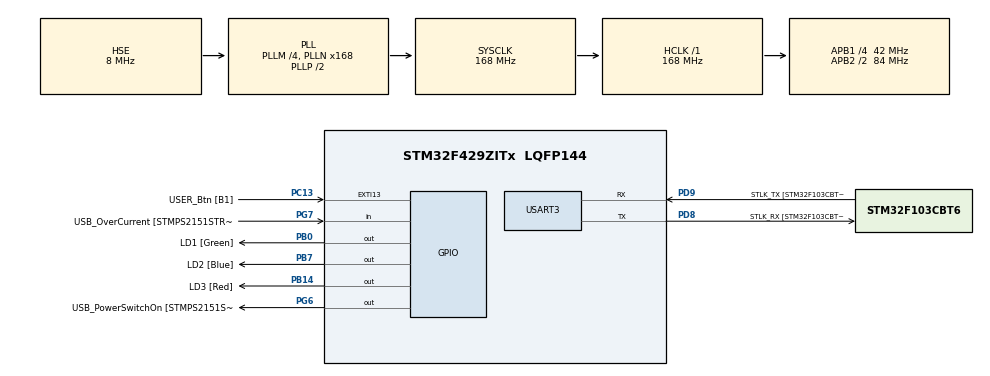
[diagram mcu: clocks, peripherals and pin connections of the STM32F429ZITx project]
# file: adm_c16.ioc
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Mcu.Family=STM32F4
Mcu.Name=STM32F429ZITx
Mcu.Package=LQFP144
NVIC.PriorityGroup=NVIC_PRIORITYGROUP_4
PA1.GPIO_Label=RMII_REF_CLK [LAN8742A-CZ-TR_REFCLK0]
PA1.Signal=ETH_REF_CLK
PA10.GPIO_Label=USB_ID
PA10.Signal=USB_OTG_FS_ID
PA11.GPIO_Label=USB_DM
PA11.Signal=USB_OTG_FS_DM
PA12.GPIO_Label=USB_DP
PA12.Signal=USB_OTG_FS_DP
PA13.GPIO_Label=TMS
PA13.Mode=Serial_Wire
PA13.Signal=SYS_JTMS-SWDIO
PA14.GPIO_Label=TCK
PA14.Mode=Serial_Wire
PA14.Signal=SYS_JTCK-SWCLK
PA2.GPIO_Label=RMII_MDIO [LAN8742A-CZ-TR_MDIO]
PA2.Signal=ETH_MDIO
PA7.GPIO_Label=RMII_CRS_DV [LAN8742A-CZ-TR_CRS_DV]
PA7.Signal=ETH_CRS_DV
PA8.GPIO_Label=USB_SOF [TP1]
PA8.Signal=USB_OTG_FS_SOF
PA9.GPIO_Label=USB_VBUS
PA9.Signal=USB_OTG_FS_VBUS
PB0.GPIO_Label=LD1 [Green]
PB0.Signal=GPIO_Output
PB13.GPIO_Label=RMII_TXD1 [LAN8742A-CZ-TR_TXD1]
PB13.Signal=ETH_TXD1
PB14.GPIO_Label=LD3 [Red]
PB14.Signal=GPIO_Output
PB7.GPIO_Label=LD2 [Blue]
PB7.Signal=GPIO_Output
PC1.GPIO_Label=RMII_MDC [LAN8742A-CZ-TR_MDC]
PC1.Signal=ETH_MDC
PC13.GPIO_Label=USER_Btn [B1]
PC13.Signal=GPXTI13
PC14/OSC32_IN.Mode=LSE-External-Oscillator
PC14/OSC32_IN.Signal=RCC_OSC32_IN
PC15/OSC32_OUT.Mode=LSE-External-Oscillator
PC15/OSC32_OUT.Signal=RCC_OSC32_OUT
PC4.GPIO_Label=RMII_RXD0 [LAN8742A-CZ-TR_RXD0]
PC4.Signal=ETH_RXD0
PC5.GPIO_Label=RMII_RXD1 [LAN8742A-CZ-TR_RXD1]
PC5.Signal=ETH_RXD1
PD8.GPIO_Label=STLK_RX [STM32F103CBT6_PA3]
PD8.Mode=Asynchronous
PD8.Signal=USART3_TX
PD9.GPIO_Label=STLK_TX [STM32F103CBT6_PA2]
PD9.Mode=Asynchronous
PD9.Signal=USART3_RX
PG11.GPIO_Label=RMII_TX_EN [LAN8742A-CZ-TR_TXEN]
PG11.Signal=ETH_TX_EN
PG13.GPIO_Label=RMII_TXD0 [LAN8742A-CZ-TR_TXD0]
PG13.Signal=ETH_TXD0
PG6.GPIO_Label=USB_PowerSwitchOn [STMPS2151STR_EN]
PG6.Signal=GPIO_Output
PG7.GPIO_Label=USB_OverCurrent [STMPS2151STR_FAULT]
PG7.Signal=GPIO_Input
PH0/OSC_IN.GPIO_Label=MCO [STM32F103CBT6_PA8]
PH0/OSC_IN.Mode=HSE-External-Clock-Source
PH0/OSC_IN.Signal=RCC_OSC_IN
PH1/OSC_OUT.Mode=HSE-External-Clock-Source
PH1/OSC_OUT.Signal=RCC_OSC_OUT
ProjectManager.HeapSize=0x200
ProjectManager.StackSize=0x400
ProjectManager.TargetToolchain=STM32CubeIDE
RCC.48MHZClocksFreq_Value=48000000
RCC.AHBFreq_Value=168000000
RCC.APB1CLKDivider=RCC_HCLK_DIV4
RCC.APB1Freq_Value=42000000
RCC.APB1TimFreq_Value=84000000
RCC.APB2CLKDivider=RCC_HCLK_DIV2
RCC.APB2Freq_Value=84000000
RCC.APB2TimCLKDivider=2
RCC.APB2TimFreq_Value=168000000
RCC.CortexFreq_Value=168000000
RCC.HCLKFreq_Value=168000000
RCC.HSE_VALUE=8000000
RCC.HSI_VALUE=16000000
RCC.PLLM=4
RCC.PLLMUL=RCC_PLL_MUL9
RCC.PLLN=168
RCC.PLLQ=7
RCC.PLLSourceVirtual=RCC_PLLSOURCE_HSE
RCC.PRESCALERUSB=RCC_USBCLKSOURCE_PLL_DIV1_5
RCC.SYSCLKFreq_VALUE=168000000
RCC.SYSCLKSource=RCC_SYSCLKSOURCE_PLLCLK
RCC.SYSCLKSourceVirtual=RCC_SYSCLKSOURCE_PLLCLK
RCC.USBFreq_Value=48000000
RCC.VCOOutputFreq_Value=336000000
USART3.VirtualMode=VM_ASYNC
board=NUCLEO-F429ZI

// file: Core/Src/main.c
/* USER CODE BEGIN Header */
/**
  ******************************************************************************
  * @file           : main.c
  * @brief          : Módulo principal del proyecto AdM
  ******************************************************************************
  * @attention
  ******************************************************************************
  */
/* USER CODE END Header */
#include "main.h"

/* USER CODE BEGIN Includes */
#include "asm_func.h"
/* USER CODE END Includes */

/* USER CODE BEGIN PM */
#define N_MUESTRAS		1024

/* USER CODE END PM */

UART_HandleTypeDef huart3;

void SystemClock_Config(void);
static void MX_GPIO_Init(void);
static void MX_USART3_UART_Init(void);
/* USER CODE BEGIN PFP */
static void PrivilegiosSVC (void);

/* USER CODE END PFP */

int main(void)
{
  /* USER CODE BEGIN 1 */
  // **************************************************************************
  /* USER CODE END 1 */

  /* MCU Configuration--------------------------------------------------------*/
  /* Reset of all peripherals, Initializes the Flash interface and the Systick. */
  HAL_Init();
  /* Configure the system clock */
  SystemClock_Config();
  /* USER CODE BEGIN SysInit */

  // Activa contador de ciclos (iniciar una sola vez)
  DWT->CTRL |= 1 << DWT_CTRL_CYCCNTENA_Pos;

  /* USER CODE END SysInit */
  /* Initialize all configured peripherals */
  MX_GPIO_Init();
  MX_USART3_UART_Init();

  /* USER CODE BEGIN 2 */
  // **************************************************************************
  // Variables locales a Main: (guardadas en la pila)
  volatile uint32_t Ciclos;
  uint32_t i;
  uint32_t senial1[N_MUESTRAS];
  uint32_t senial2[N_MUESTRAS];
  uint16_t senial16[N_MUESTRAS];
  uint16_t senial16b[N_MUESTRAS];

  senial1[N_MUESTRAS-1] = 99;
  senial16[0] = 1;
  for (i=0; i<N_MUESTRAS; i++) {
  	  senial16[i] = i;
  }

  // **************************************************************************
  // Mensaje con el modo de compilación
  EnviaTexto ( (uint8_t *) "---------------------------------------------------------");
  #ifdef DEBUG
  EnviaTexto ( (uint8_t *) "Compilado en modo DEBUG.");
  #else
  EnviaTexto ( (uint8_t *) "Compilado en modo RELEASE.");
  #endif

  // **************************************************************************
  // 0) Prueba de modos de privilegio
  PrivilegiosSVC ();
  const uint32_t suma = asm_sum (5, 3);

  // **************************************************************************
  // 1) Fn zeros
  // Inicio prueba de productos escalares
  // Asignación de valores...
  asm_zeros (senial1, N_MUESTRAS);   					// Función en Assembler
  ones(senial1, N_MUESTRAS);
  asm_productoEscalar32(senial1, senial2, N_MUESTRAS, 1);	// Esto equivale a copiar un vector en otro

  // **************************************************************************
  // 4) Multiplicación de vector por escalar con saturación de 12 bits
  // ¡¡¡Contando ciclos!!!

  // Antes de la función a medir: contador de ciclos a cero
  DWT->CYCCNT = 0;

  // Vamos a multiplicar el contenido de senial16 por un valor algunas veces
  for (i=0; i<4; i++) {
  	  productoEscalar12(senial16, senial16, N_MUESTRAS, 3);
  }

  // Mido la cantidad de ciclos
  Ciclos = DWT->CYCCNT;
  EnviaTextoNumero ( (uint8_t *) "4) Ciclos de fn multiplicacion con saturacion en C = ", (uint32_t) Ciclos);

  // Ahora en Assembler...
  // Primero asigno el mismo valor:
  for (i=0; i<N_MUESTRAS; i++) {
  	  senial16[i] = i;
  }

  // Contador de ciclos a cero
  DWT->CYCCNT = 0;

  // Vamos a multiplicar el contenido de senial16 por un valor algunas veces
  for (i=0; i<4; i++) {							// Ahora vamos a multiplicar su contenido por Resultado una cantidad de veces
	  asm_productoEscalar12(senial16, senial16, N_MUESTRAS, suma-1);
  }

  // Mido la cantidad de ciclos
  Ciclos = DWT->CYCCNT;
  EnviaTextoNumero ( (uint8_t *) "4) Ciclos de fn multiplicacion con saturacion en Assembler = ", (uint32_t) Ciclos);

  // **************************************************************************
  // 5) Promedio ventana
  zeros16(senial16, N_MUESTRAS);
  for (i=5; i<N_MUESTRAS-1; i+=14) {
	  senial16[i]=50;
	  senial16[i+1]=50;
  }
  asm_filtroVentana10(senial16, senial16b, N_MUESTRAS);	  // Probamos filtro ventana
  asm_invertir (senial16b, N_MUESTRAS);

  // **************************************************************************
  // 7) Prueba máximo de indice
  int32_t evaluame[10] = {1, 2, 3, 4, 3, 2, 1, 0, -1, -2};
  uint32_t indice;
  indice = asm_max(evaluame, 10);
  EnviaTextoNumero ( (uint8_t *) "7) Indice maximo es ", (uint32_t) indice);

  // **************************************************************************
  // 8) Prueba de submuestreo
  int32_t submuestreado[10];
  asm_downsampleM (evaluame, submuestreado, 10, 3);

  // **************************************************************************
  // Problema 11) Prueba de correlación
  int16_t vectorX[N_MUESTRAS], vectorY[N_MUESTRAS], corr1[N_MUESTRAS], corr2[N_MUESTRAS];

  for ( i=0; i<N_MUESTRAS; i++) {
	  vectorX[i] = 0;
	  vectorY[i] = 0;
	  if (i == 0) {
		  vectorY[i] = 1;
	  } else if (i < 5) {
		  vectorY[i] = vectorY[i-1] * (-3);
	  } else {
		  vectorY[i] = vectorY[i-1] / (-2);
	  }
	  if (i>=512) {
		  vectorX[i] = vectorY[i-512];
	  }
  }

  // Pruebo en Assembler sin SIMD
  DWT->CYCCNT = 0; 									// Contador de ciclos a cero
  corr (vectorX, vectorY, corr2, N_MUESTRAS);		// Ejecuto...
  Ciclos = DWT->CYCCNT;								// Mido la cantidad de ciclos
  EnviaTextoNumero ( (uint8_t *) "11) Ciclos de fn correlacion en C = ", (uint32_t) Ciclos);

  // Pruebo en Assembler sin SIMD
  DWT->CYCCNT = 0; 									// Contador de ciclos a cero
  asm_corr (vectorX, vectorY, corr1, N_MUESTRAS);	// Ejecuto...
  Ciclos = DWT->CYCCNT;								// Mido la cantidad de ciclos
  EnviaTextoNumero ( (uint8_t *) "11) Ciclos de fn correlacion en Assembler sin SIMD = ", (uint32_t) Ciclos);

  // Pruebo en Assembler sin SIMD
  DWT->CYCCNT = 0; 									// Contador de ciclos a cero
  asm_corr_SIMD (vectorX, vectorY, corr2, N_MUESTRAS);	// Ejecuto...
  Ciclos = DWT->CYCCNT;								// Mido la cantidad de ciclos
  EnviaTextoNumero ( (uint8_t *) "11) Ciclos de fn correlacion en Assembler con SIMD = ", (uint32_t) Ciclos);

  // **************************************************************************

  /* USER CODE END 2 */

  /* Infinite loop */
  while (1)
  {

  }
}

void SystemClock_Config(void)
{
  RCC_OscInitTypeDef RCC_OscInitStruct = {0};
  RCC_ClkInitTypeDef RCC_ClkInitStruct = {0};

  /** Configure the main internal regulator output voltage
  */
  __HAL_RCC_PWR_CLK_ENABLE();
  __HAL_PWR_VOLTAGESCALING_CONFIG(PWR_REGULATOR_VOLTAGE_SCALE1);

  /** Initializes the RCC Oscillators according to the specified parameters
  * in the RCC_OscInitTypeDef structure.
  */
  RCC_OscInitStruct.OscillatorType = RCC_OSCILLATORTYPE_HSE;
  RCC_OscInitStruct.HSEState = RCC_HSE_BYPASS;
  RCC_OscInitStruct.PLL.PLLState = RCC_PLL_ON;
  RCC_OscInitStruct.PLL.PLLSource = RCC_PLLSOURCE_HSE;
  RCC_OscInitStruct.PLL.PLLM = 4;
  RCC_OscInitStruct.PLL.PLLN = 168;
  RCC_OscInitStruct.PLL.PLLP = RCC_PLLP_DIV2;
  RCC_OscInitStruct.PLL.PLLQ = 7;
  if (HAL_RCC_OscConfig(&RCC_OscInitStruct) != HAL_OK)
  {
    Error_Handler();
  }

  /** Initializes the CPU, AHB and APB buses clocks
  */
  RCC_ClkInitStruct.ClockType = RCC_CLOCKTYPE_HCLK|RCC_CLOCKTYPE_SYSCLK
                              |RCC_CLOCKTYPE_PCLK1|RCC_CLOCKTYPE_PCLK2;
  RCC_ClkInitStruct.SYSCLKSource = RCC_SYSCLKSOURCE_PLLCLK;
  RCC_ClkInitStruct.AHBCLKDivider = RCC_SYSCLK_DIV1;
  RCC_ClkInitStruct.APB1CLKDivider = RCC_HCLK_DIV4;
  RCC_ClkInitStruct.APB2CLKDivider = RCC_HCLK_DIV2;

  if (HAL_RCC_ClockConfig(&RCC_ClkInitStruct, FLASH_LATENCY_5) != HAL_OK)
  {
    Error_Handler();
  }
}

static void MX_USART3_UART_Init(void)
{

  huart3.Instance = USART3;
  huart3.Init.BaudRate = 115200;
  huart3.Init.WordLength = UART_WORDLENGTH_8B;
  huart3.Init.StopBits = UART_STOPBITS_1;
  huart3.Init.Parity = UART_PARITY_NONE;
  huart3.Init.Mode = UART_MODE_TX_RX;
  huart3.Init.HwFlowCtl = UART_HWCONTROL_NONE;
  huart3.Init.OverSampling = UART_OVERSAMPLING_16;
  if (HAL_UART_Init(&huart3) != HAL_OK)
  {
    Error_Handler();
  }

}

static void MX_GPIO_Init(void)
{
  GPIO_InitTypeDef GPIO_InitStruct = {0};

  /* GPIO Ports Clock Enable */
  __HAL_RCC_GPIOC_CLK_ENABLE();
  __HAL_RCC_GPIOH_CLK_ENABLE();
  __HAL_RCC_GPIOA_CLK_ENABLE();
  __HAL_RCC_GPIOB_CLK_ENABLE();
  __HAL_RCC_GPIOD_CLK_ENABLE();
  __HAL_RCC_GPIOG_CLK_ENABLE();

  /*Configure GPIO pin Output Level */
  HAL_GPIO_WritePin(GPIOB, LD1_Pin|LD3_Pin|LD2_Pin, GPIO_PIN_RESET);

  /*Configure GPIO pin Output Level */
  HAL_GPIO_WritePin(USB_PowerSwitchOn_GPIO_Port, USB_PowerSwitchOn_Pin, GPIO_PIN_RESET);

  /*Configure GPIO pin : USER_Btn_Pin */
  GPIO_InitStruct.Pin = USER_Btn_Pin;
  GPIO_InitStruct.Mode = GPIO_MODE_IT_RISING;
  GPIO_InitStruct.Pull = GPIO_NOPULL;
  HAL_GPIO_Init(USER_Btn_GPIO_Port, &GPIO_InitStruct);

  /*Configure GPIO pins : RMII_MDC_Pin RMII_RXD0_Pin RMII_RXD1_Pin */
  GPIO_InitStruct.Pin = RMII_MDC_Pin|RMII_RXD0_Pin|RMII_RXD1_Pin;
  GPIO_InitStruct.Mode = GPIO_MODE_AF_PP;
  GPIO_InitStruct.Pull = GPIO_NOPULL;
  GPIO_InitStruct.Speed = GPIO_SPEED_FREQ_VERY_HIGH;
  GPIO_InitStruct.Alternate = GPIO_AF11_ETH;
  HAL_GPIO_Init(GPIOC, &GPIO_InitStruct);

  /*Configure GPIO pins : RMII_REF_CLK_Pin RMII_MDIO_Pin RMII_CRS_DV_Pin */
  GPIO_InitStruct.Pin = RMII_REF_CLK_Pin|RMII_MDIO_Pin|RMII_CRS_DV_Pin;
  GPIO_InitStruct.Mode = GPIO_MODE_AF_PP;
  GPIO_InitStruct.Pull = GPIO_NOPULL;
  GPIO_InitStruct.Speed = GPIO_SPEED_FREQ_VERY_HIGH;
  GPIO_InitStruct.Alternate = GPIO_AF11_ETH;
  HAL_GPIO_Init(GPIOA, &GPIO_InitStruct);

  /*Configure GPIO pins : LD1_Pin LD3_Pin LD2_Pin */
  GPIO_InitStruct.Pin = LD1_Pin|LD3_Pin|LD2_Pin;
  GPIO_InitStruct.Mode = GPIO_MODE_OUTPUT_PP;
  GPIO_InitStruct.Pull = GPIO_NOPULL;
  GPIO_InitStruct.Speed = GPIO_SPEED_FREQ_LOW;
  HAL_GPIO_Init(GPIOB, &GPIO_InitStruct);

  /*Configure GPIO pin : RMII_TXD1_Pin */
  GPIO_InitStruct.Pin = RMII_TXD1_Pin;
  GPIO_InitStruct.Mode = GPIO_MODE_AF_PP;
  GPIO_InitStruct.Pull = GPIO_NOPULL;
  GPIO_InitStruct.Speed = GPIO_SPEED_FREQ_VERY_HIGH;
  GPIO_InitStruct.Alternate = GPIO_AF11_ETH;
  HAL_GPIO_Init(RMII_TXD1_GPIO_Port, &GPIO_InitStruct);

  /*Configure GPIO pin : USB_PowerSwitchOn_Pin */
  GPIO_InitStruct.Pin = USB_PowerSwitchOn_Pin;
  GPIO_InitStruct.Mode = GPIO_MODE_OUTPUT_PP;
  GPIO_InitStruct.Pull = GPIO_NOPULL;
  GPIO_InitStruct.Speed = GPIO_SPEED_FREQ_LOW;
  HAL_GPIO_Init(USB_PowerSwitchOn_GPIO_Port, &GPIO_InitStruct);

  /*Configure GPIO pin : USB_OverCurrent_Pin */
  GPIO_InitStruct.Pin = USB_OverCurrent_Pin;
  GPIO_InitStruct.Mode = GPIO_MODE_INPUT;
  GPIO_InitStruct.Pull = GPIO_NOPULL;
  HAL_GPIO_Init(USB_OverCurrent_GPIO_Port, &GPIO_InitStruct);

  /*Configure GPIO pins : USB_SOF_Pin USB_ID_Pin USB_DM_Pin USB_DP_Pin */
  GPIO_InitStruct.Pin = USB_SOF_Pin|USB_ID_Pin|USB_DM_Pin|USB_DP_Pin;
  GPIO_InitStruct.Mode = GPIO_MODE_AF_PP;
  GPIO_InitStruct.Pull = GPIO_NOPULL;
  GPIO_InitStruct.Speed = GPIO_SPEED_FREQ_VERY_HIGH;
  GPIO_InitStruct.Alternate = GPIO_AF10_OTG_FS;
  HAL_GPIO_Init(GPIOA, &GPIO_InitStruct);

  /*Configure GPIO pin : USB_VBUS_Pin */
  GPIO_InitStruct.Pin = USB_VBUS_Pin;
  GPIO_InitStruct.Mode = GPIO_MODE_INPUT;
  GPIO_InitStruct.Pull = GPIO_NOPULL;
  HAL_GPIO_Init(USB_VBUS_GPIO_Port, &GPIO_InitStruct);

  /*Configure GPIO pins : RMII_TX_EN_Pin RMII_TXD0_Pin */
  GPIO_InitStruct.Pin = RMII_TX_EN_Pin|RMII_TXD0_Pin;
  GPIO_InitStruct.Mode = GPIO_MODE_AF_PP;
  GPIO_InitStruct.Pull = GPIO_NOPULL;
  GPIO_InitStruct.Speed = GPIO_SPEED_FREQ_VERY_HIGH;
  GPIO_InitStruct.Alternate = GPIO_AF11_ETH;
  HAL_GPIO_Init(GPIOG, &GPIO_InitStruct);

}

/* USER CODE BEGIN 4 */

/**
  * @Obtiene valor del registro de 32 bits del procesador llamado "control".
  * @param
  * @retval None
  */
static void PrivilegiosSVC (void)
{
    // Obtiene valor del registro de 32 bits del procesador llamado "control".
    // El registro guarda los siguientes estados:
    // bit 2: Uso de FPU en el contexto actual. Usado=1, no usado=0.
    // bit 1: Mapeo del stack pointer(sp). MSP=0, PSP=1.
    // bit 0: Modo de ejecucion en Thread. Privilegiado=0, No privilegiado=1.
    //        Recordar que este valor solo se usa en modo Thread. Las
    //        interrupciones siempre se ejecutan en modo Handler con total
    //        privilegio.
    uint32_t x = __get_CONTROL ();

    // Actividad de debug: Ver registro "control" y valor de variable "x".
    //__BKPT (0);

    x |= 1;
    // bit 0 a modo No privilegiado.
    __set_CONTROL (x);

    // En este punto se estaria ejecutando en modo No privilegiado.
    // Lectura del registro "control" para confirmar.
    x = __get_CONTROL ();

    // Actividad de debug: Ver registro "control" y valor de variable "x".
    //__BKPT (0);

    x &= ~1u;
    // Se intenta volver a modo Privilegiado (bit 0, valor 0).
    __set_CONTROL (x);

    // Confirma que esta operacion es ignorada por estar ejecutandose en modo
    // Thread no privilegiado.
    x = __get_CONTROL ();

    // Actividad de debug: Ver registro "control" y valor de variable "x".
    //__BKPT (0);

    // En este punto, ejecutando en modo Thread no privilegiado, la unica forma
    // de volver a modo privilegiado o de realizar cualquier cambio que requiera
    // modo privilegiado, es pidiendo ese servicio a un hipotetico sistema
    // opertivo de tiempo real.
    // Para esto se invoca por software a la interrupcion SVC (Supervisor Call)
    // utilizando la instruccion "svc".
    // No hay intrinsics para realizar esta tarea. Para utilizar la instruccion
    // es necesario implementar una funcion en assembler. Ver el archivo
    // asm_func.S.
    asm_svc ();

    // El sistema operativo (el handler de SVC) deberia haber devuelto el modo
    // de ejecucion de Thread a privilegiado (bit 0 en valor 0).
    x = __get_CONTROL ();

    // Fin del ejemplo de SVC
}

/**
  * @brief Inicializa un vector con zeros
  * @param
  * @retval None
  */
void zeros(uint32_t * vector, uint32_t longitud)
{
	if (vector == NULL) Error_Handler();
	for (uint32_t i=0; i<longitud; i++) {
		vector[i] = 0;
	}
}

/**
  * @brief Inicializa un vector con zeros
  * @param
  * @retval None
  */
void zeros16(uint16_t * vector, uint32_t longitud)
{
	if (vector == NULL) Error_Handler();
	for (uint32_t i=0; i<longitud; i++) {
		vector[i] = 0;
	}
}

/**
  * @brief Inicializa un vector con unos
  * @param
  * @retval None
  */
void ones(uint32_t * vector, uint32_t longitud)
{
	if (vector == NULL) Error_Handler();
	for (uint32_t i=0; i<longitud; i++) {
		vector[i] = 1;
	}
}

/**
  * @brief   Multiplica los elements de un vector
  * @param
  * @retval  None
  * @comment No analiza caso de desborde.
  */
void productoEscalar32(uint32_t * vectorIn, uint32_t * vectorOut, uint32_t longitud, uint32_t escalar)
{
	if (vectorIn == NULL || vectorOut == NULL) Error_Handler();
	for (uint32_t i=0; i<longitud; i++) {
		vectorOut[i] = vectorIn[i] * escalar;
	}
}

/**
  * @brief   Multiplica los elementos de un vector de uint16_t
  * @param
  * @retval  None
  * @comment No analiza caso de desborde.
  *
  */
void productoEscalar16(uint16_t * vectorIn, uint16_t * vectorOut, uint32_t longitud, uint16_t escalar)
{
	if (vectorIn == NULL || vectorOut == NULL) Error_Handler();
	for (uint32_t i=0; i<longitud; i++) {
		vectorOut[i] = vectorIn[i] * escalar;
	}
}

/**
  * @brief   Multiplica los elementos de un vector de uint16_t saturando en 12 bits.
  * @param
  * @retval  None
  * @comment Satura los valores.
  */
void productoEscalar12(uint16_t * vectorIn, uint16_t * vectorOut, uint32_t longitud, uint16_t escalar)
{
	uint32_t Out;
	if (vectorIn == NULL || vectorOut == NULL) Error_Handler();
	for (uint32_t i=0; i<longitud; i++) {
		Out = (uint32_t) vectorIn[i] * (uint32_t) escalar;
		vectorOut[i] = Out > 0xFFF ? 0xFFF : (uint16_t) Out;
	}
}

/**
  * @brief   Filtro ventana 11
  * @param
  * @retval  None
  * @comment
  */
void filtroVentana10(uint16_t * vectorIn, uint16_t * vectorOut, uint32_t longitud)
{
	const int16_t Lateral = 10/2;	// Para una ventana de 10, tomo 5 de cada lado
	if (vectorIn == NULL || vectorOut == NULL) Error_Handler();	// Algo alguna verificación...
	if (longitud < Lateral) Error_Handler();
	uint32_t i, j, min, max, ventana, prom;

	for (i=0; i<longitud; i++) {
		// min y max son los indices desde donde debe promediar, incluidos
		min = Lateral>i ? 0 : i-Lateral;
		max = (i+1+Lateral)>longitud ? (longitud-1) : i+Lateral;
		ventana = max-min+1;
		prom = 0;

		for (j = min ; j <= max; j++) {
			prom += vectorIn[j];
		}
		vectorOut[i] = prom / ventana;
	}
}

/**
  * @brief   Empaquetado
  * @param
  * @retval  None
  * @comment
  */
void pack32to16 (int32_t * vectorIn, int16_t *vectorOut, uint32_t longitud)
{
	if (vectorIn == NULL || vectorOut == NULL) Error_Handler();
	for (uint32_t i=0; i<longitud; i++) {
		vectorOut[i] = vectorIn[i]>>16;
	}
}

void corr (int16_t * vectorX, int16_t * vectorY, int16_t * vectorCorr, uint32_t longitud)
{
	uint32_t Suma = 0;
	for (uint32_t i=0; i<longitud; i++) {
		for (uint32_t j=i; j<longitud; j++) {
			Suma += vectorY[j-i]*vectorX[i];
		}
		vectorCorr[i] = Suma;
		Suma = 0;
	}
}

void EnviaTextoNumero ( uint8_t * Texto, uint32_t Numero)
{
	uint8_t NumeroEnTexto[20];
	itoa ((int) Numero, (char *) NumeroEnTexto, (int) 10);
	uint32_t Largo = strlen( (char *) Texto);

	// Primero transmito el texto:
	HAL_UART_Transmit(&huart3, (uint8_t *) Texto, Largo, 0x04FF);

	// Luego el número:
	Largo = strlen( (char * ) NumeroEnTexto);
	HAL_UART_Transmit(&huart3, (uint8_t *) NumeroEnTexto, Largo, 0x04FF);

	// Hago return + line feed
	HAL_UART_Transmit(&huart3, (uint8_t *) "\n\r", 2, 0x04FF);

}

void EnviaTexto ( uint8_t * Texto)
{
	uint32_t Largo = strlen( (char *) Texto);

	// Primero transmito el texto:
	HAL_UART_Transmit(&huart3, (uint8_t *) Texto, Largo, 0x04FF);

	// Hago return + line feed
	HAL_UART_Transmit(&huart3, (uint8_t *) "\n\r", 2, 0x04FF);

}

/* USER CODE END 4 */

void Error_Handler(void)
{
  __disable_irq();
  while (1)
  {
  }
}
